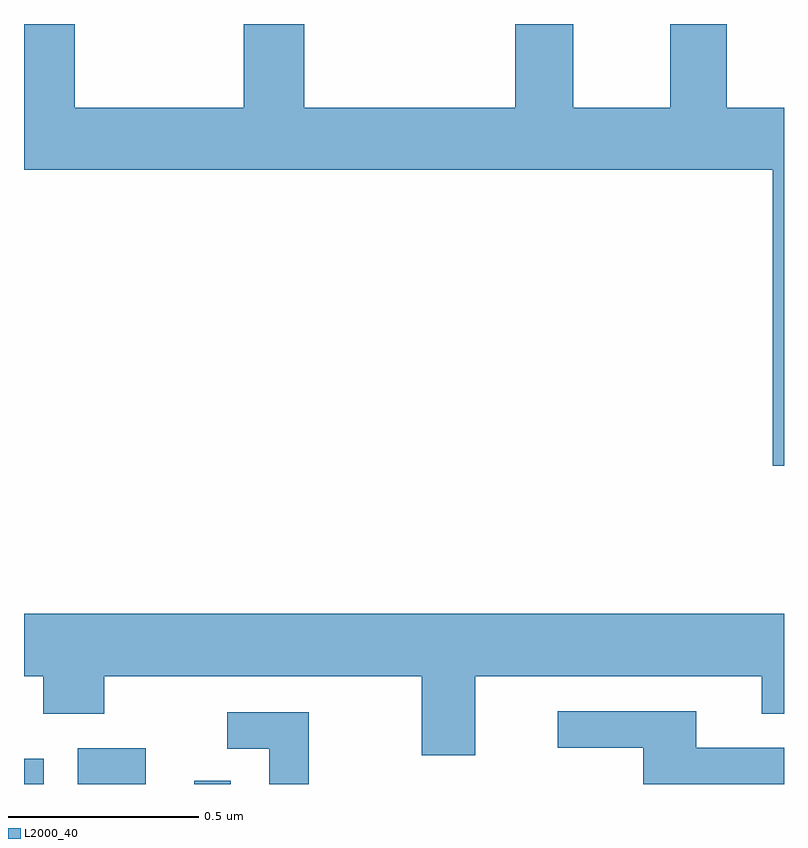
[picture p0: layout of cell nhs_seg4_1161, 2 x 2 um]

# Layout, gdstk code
import gdstk
lib = gdstk.Library(unit=1e-6, precision=1e-09)
def R(c, l, rs):  # rectangles x0, y0, x1, y1
    for r in rs: c.add(gdstk.rectangle(r[:2], r[2:], *l))
def P(c, l, *ps):  # polygons
    for p in ps: c.add(gdstk.Polygon(p, *l))
L2000_40 = (2000, 40)

nhs_seg4_1161 = lib.new_cell('nhs_seg4_1161')
R(nhs_seg4_1161, L2000_40, [(125,765.9,125.052,765.966), (125.141,765.9,125.32,765.994), (125.448,765.9,125.544,765.908)])
P(nhs_seg4_1161, L2000_40, [(127,767.68),(126.849,767.68),(126.849,767.9),(126.701,767.9),(126.701,767.68),(126.445,767.68),(126.445,767.9),(126.293,767.9),(126.293,767.68),(125.738,767.68),(125.738,767.9),(125.578,767.9),(125.578,767.68),(125.133,767.68),(125.133,767.9),(125,767.9),(125,767.516),(126.971,767.516),(126.971,766.737),(127,766.737)],
  [(126.187,766.184),(126.941,766.184),(126.941,766.085),(127,766.085),(127,766.348),(125,766.348),(125,766.184),(125.051,766.184),(125.051,766.085),(125.211,766.085),(125.211,766.184),(126.047,766.184),(126.047,765.976),(126.187,765.976)],
  [(127,765.996),(126.769,765.996),(126.769,766.092),(126.405,766.092),(126.405,765.996),(126.629,765.996),(126.629,765.9),(127,765.9)],
  [(125.749,766.089),(125.535,766.089),(125.535,765.993),(125.645,765.993),(125.645,765.9),(125.749,765.9)])

lib.write_gds('nhs_seg4_1161.gds')
